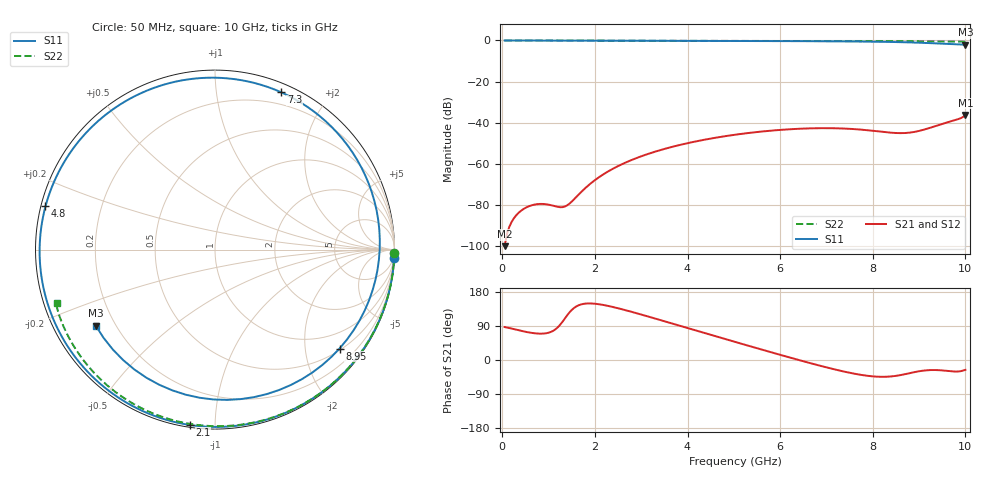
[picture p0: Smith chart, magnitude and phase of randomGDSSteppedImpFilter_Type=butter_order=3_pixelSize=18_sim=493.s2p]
! freq	dB(S11)	phase(S11)	dB(S12)	phase(S12)
!  dB(S21)	phase(S21)	dB(S22)	phase(S22)
!S-par simulation data
#  GHz  S  DB  R 50
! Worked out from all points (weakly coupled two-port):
!   200 points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, 50 MHz to 10 GHz, reference 50 ohm
!   highest |S21| = -36.27 dB at 10 GHz (marker M1); lowest = -100.1 dB at 50 MHz (marker M2)
!   lowest |S11| = -2.1 dB at 10 GHz (marker M3), VSWR 8.44, Z = 6.42 - j14.4 ohm
!   |S11| at or under -10 dB: nowhere
!   |S22| runs from -0.6 to 0.0 dB; largest |S21 - S12| = 0
!   S11 on the Smith chart (normalised r, x): 50 MHz: 1, -44; 2.1 GHz: 0.01, -0.87; 4.8 GHz: 0.01, +0.13; 7.3 GHz: 0.08, +1.50; 8.95 GHz: 0.54, -2.77; 10 GHz: 0.13, -0.29
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0.05  -0.01 -2.6  -100.08 87.0  -100.08 87.0  -0.00 -0.9
0.65  -0.04 -32.7  -80.10 71.3  -80.10 71.3  -0.01 -12.0
1.05  -0.06 -52.0  -80.12 74.1  -80.12 74.1  -0.02 -19.3
1.4  -0.08 -68.2  -80.23 117.8  -80.23 117.8  -0.03 -25.7
1.75  -0.10 -83.6  -72.71 148.0  -72.71 148.0  -0.04 -31.9
2.1  -0.11 -98.2  -66.35 146.9  -66.35 146.9  -0.05 -38.1
2.65  -0.13 -119.7  -59.53 131.8  -59.53 131.8  -0.06 -47.8
3.4  -0.16 -146.8  -53.42 105.9  -53.42 105.9  -0.08 -60.5
4.1  -0.19 -170.7  -49.48 80.8  -49.48 80.8  -0.10 -72.1
4.8  -0.22 165.7  -46.61 55.8  -46.61 55.8  -0.13 -83.3
5.05  -0.24 157.1  -45.79 46.9  -45.79 46.9  -0.13 -87.3
5.85  -0.29 128.6  -43.79 18.9  -43.79 18.9  -0.17 -99.6
6.7  -0.36 94.7  -42.73 -9.9  -42.73 -9.9  -0.22 -112.3
7.3  -0.44 67.1  -42.79 -28.3  -42.79 -28.3  -0.26 -121.1
7.8  -0.53 40.8  -43.49 -40.3  -43.49 -40.3  -0.30 -128.4
8.35  -0.70 6.8  -44.78 -43.8  -44.78 -43.8  -0.35 -136.4
8.65  -0.85 -14.5  -45.07 -38.6  -45.07 -38.6  -0.38 -140.8
8.95  -1.05 -38.5  -44.27 -30.8  -44.27 -30.8  -0.41 -145.2
9.25  -1.31 -65.5  -42.40 -26.5  -42.40 -26.5  -0.45 -149.6
9.5  -1.57 -90.6  -40.59 -27.5  -40.59 -27.5  -0.48 -153.4
9.75  -1.83 -118.1  -38.92 -30.3  -38.92 -30.3  -0.52 -157.2
10  -2.07 -147.5  -36.27 -26.0  -36.27 -26.0  -0.63 -161.4
